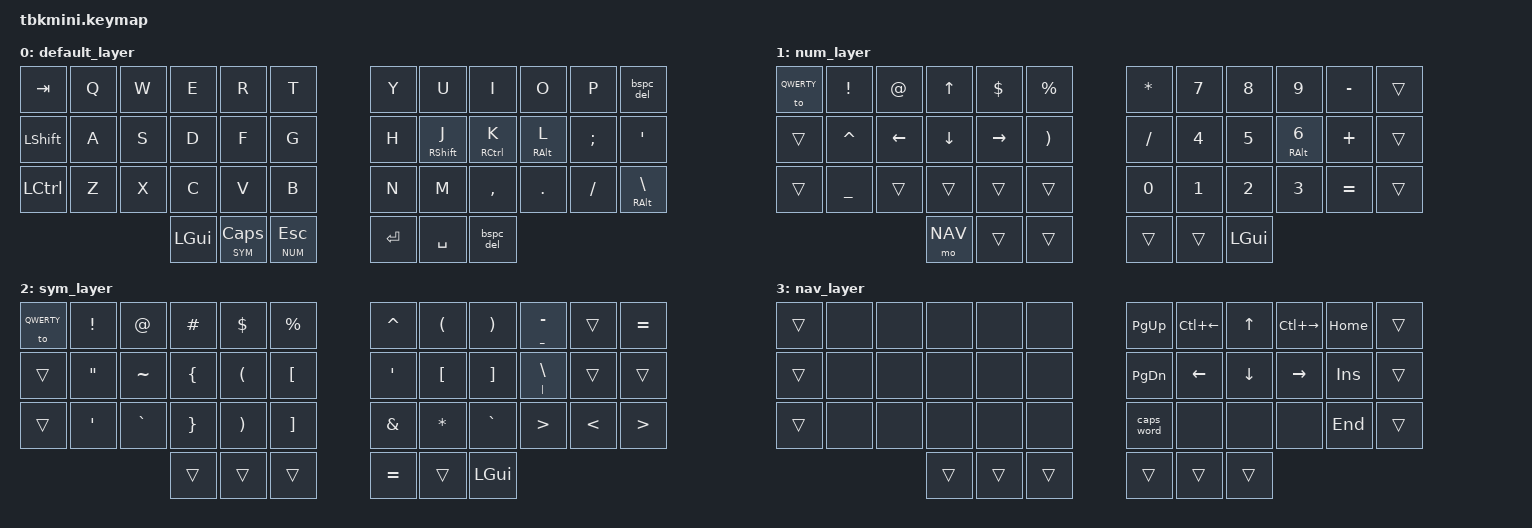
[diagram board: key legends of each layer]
#include <behaviors.dtsi>
#include <dt-bindings/zmk/keys.h>
#include <dt-bindings/zmk/outputs.h>
#include <dt-bindings/zmk/bt.h>
#include "keymap_colemak.h"

#define QWERTY 0
#define NUM 1
#define SYM 2
#define NAV 3
#define ADJUST 4

&lt {
  tapping-term-ms = <200>;
  quick_tap_ms = <150>;
  flavor = "hold-preferred";
};

&mt {
  tapping-term-ms = <150>;
  compatible = "zmk,behavior-hold-tap";
  #binding-cells = <2>;
  quick-tap-ms = <150>;
  flavor = "balanced";
};

/ {
    behaviors {
        bspc_del: backspace_delete {
            compatible = "zmk,behavior-mod-morph";
            label = "BACKSPACE_DELETE";
            #binding-cells = <0>;
            bindings = <&kp BACKSPACE>, <&kp DELETE>;
            mods = <(MOD_LSFT|MOD_RSFT)>;
            keep-mods = <(MOD_RSFT)>;
        };
    };
};

/ {
  chosen {
    zmk,matrix_transform = &default_transform;
  };

  keymap {
        compatible = "zmk,keymap";

                default_layer {
// /--------------------------------------------------------------\       /-----------------------------------------------------------\
// |   ESC        |    Q    |    W   |   E    |    R    |    T    |       |   Y   |    U    |    I    |    O    |     P    |    \     |
// |--------------+---------+--------+--------+---------+---------|       |-------+---------+---------+---------+----------+----------|
// |   CTRL/Tab   |    A    |    S   |   D    |    F    |    G    |       |   H   |    J    |    K    |    L    |     ;    |     '    |
// |--------------+---------+--------+--------+---------+---------|       |-------+---------+---------+---------+----------+----------|
// |   SHFT       |    Z    |    X   |   C    |    V    |    B    |       |   N   |    M    |    ,    |    .    |     /    | ` | ALT  |
// \---------------------------------+--------+---------+---------+       |-------+---------+---------+-------------------------------/
//                                   |  GUI   |   MO1   |   ENT   |       |  SPC  |   BKSP  |  CAPS   |
//                                   \--------+---------+---------/       \-------+---------+---------/

                        bindings = <
   &kp TAB          &kp Q   &kp W   &kp E     &kp R               &kp T             &kp Y         &kp U         &kp I         &kp O        &kp P      &bspc_del
   &kp LSHIFT       &kp A   &kp S   &kp D     &kp F               &kp G             &kp H         &mt RSHIFT J  &mt RCTRL K   &mt RALT L   &kp SEMI   &kp SQT
   &kp LCTRL        &kp Z   &kp X   &kp C     &kp V               &kp B             &kp N         &kp M         &kp COMMA     &kp DOT      &kp FSLH   &mt RALT BSLH
                                    &kp LGUI  &lt SYM CAPSLOCK    &lt NUM ESC       &kp RET       &kp SPACE     &bspc_del
                        >;
                };


                num_layer {
// /--------------------------------------------------------------\       /-----------------------------------------------------------\
// |   ESC        |    1    |    2   |   3    |    4    |    5    |       |   6   |    7    |    8    |    9    |     0    |    `     |
// |--------------+---------+--------+--------+---------+---------|       |-------+---------+---------+---------+----------+----------|
// |              |    !    |    @   |   #    |    $    |    %    |       |   ^   |    &    |    *    |    (    |     )    |     :    |
// |--------------+---------+--------+--------+---------+---------|       |-------+---------+---------+---------+----------+----------|
// |   SHFT       |         |    +   |   -    |    {    |    [    |       |   ]   |    }    |    =    |    _    |          |          |
// \---------------------------------+--------+---------+---------+       |-------+---------+---------+-------------------------------/
//                                   |  GUI   |         |   MO3   |       |   ,   |    .    |   ?     |
//                                   \--------+---------+---------/       \-------+---------+---------/
                        bindings = <
   &to QWERTY       &kp EXCL    &kp AT     &kp UP      &kp DOLLAR   &kp PERCENT       &kp ASTRK    &kp N7    &kp N8   &kp N9       &kp MINUS   &trans
   &trans           &kp CARET   &kp LEFT   &kp DOWN    &kp RIGHT    &kp RPAR          &kp SLASH    &kp N4    &kp N5   &mt RALT N6  &kp PLUS    &trans
   &trans           &kp UNDER   &trans     &trans      &trans       &trans            &kp N0       &kp N1    &kp N2   &kp N3       &kp EQUAL   &trans
                                           &mo NAV     &trans       &trans            &trans       &trans    &kp LGUI
                        >;
                };

                sym_layer {
// /----------------------------------------------------------------\       /-----------------------------------------------------------------\
// |   CMD+SHIFT+4  |       |   PU   |   UP   |    PD    |   HOME   |       |  HOME   |    PU    |    UP   |   PD    |          | CMD+SHIFT+4 |
// |----------------+-------+--------+--------+----------+----------|       |---------+----------+---------+---------+----------+-------------|
// |                |       |  LEFT  |  DOWN  |   RIGHT  |   END    |       |  END    |   LEFT   |   DOWN  |  RIGHT  |          |             |
// |----------------+-------+--------+--------+----------+----------|       |---------+----------+---------+---------+----------+-------------|
// |     OUT_TOG    |       |        |        |CTRL+LEFT |CTRL+RIGHT|       |CTRL+LEFT|CTRL+RIGHT|         |         |          |   OUT_TOG   |
// \---------------------------------+--------+----------+----------+       |---------+----------+---------+----------------------------------/
//                                   |  GUI   |   MO3    |          |       |         |          |         |
//                                   \--------+----------+----------/       \---------+----------+---------/

                        bindings = <
   &to QWERTY       &kp EXCL   &kp AT      &kp HASH   &kp DLLR   &kp PRCNT    &kp CARET   &kp LPAR    &kp RPAR    &mt UNDER MINUS      &trans    &kp EQUAL
   &trans           &kp DQT    &kp TILDE   &kp LBRC   &kp LPAR   &kp LBKT     &kp SQT     &kp LBKT    &kp RBKT    &mt PIPE BACKSLASH   &trans    &trans
   &trans           &kp APOS   &kp GRAVE   &kp RBRC   &kp RPAR   &kp RBKT     &kp AMPS    &kp ASTRK   &kp GRAVE   &kp GT               &kp LT      &kp GT
                                           &trans     &trans     &trans       &kp EQUAL   &trans      &kp LGUI
                        >;
                };


                nav_layer {
// /--------------------------------------------------------\       /--------------------------------------------------------------\
// |         |        |        |        |         |         |       |  VOL+  |        |         |         |          |             |
// |---------+--------+--------+--------+---------+---------|       |--------+--------+---------+---------+----------+-------------|
// |  BTCLR  |  BT1   |  BT2   |  BT3   |  BT4    |  BT5    |       |  VOL-  |        |         |         |          |             |
// |---------+--------+--------+--------+---------+---------|       |--------+--------+---------+---------+----------+-------------|
// |         |        |        |        |         |         |       |        |        |         |         |          |             |
// \---------------------------+--------+---------+---------+       |--------+--------+---------+----------------------------------/
//                             |        |         |         |       |        |        |         |
//                             \--------+---------+---------/       \--------+--------+---------/

//                        bindings = <
//   &trans &reset      &trans          &trans         &trans          &trans          &trans            &kp C_VOLUME_UP    &trans &trans &trans &trans &reset &trans
//   &bt BT_CLR  &bt BT_SEL 0    &bt BT_SEL 1   &bt BT_SEL 2    &bt BT_SEL 3    &bt BT_SEL 4      &kp C_VOLUME_DOWN  &trans &trans &trans &trans &trans
//   &trans      &trans          &trans         &trans          &trans          &trans            &trans             &trans &trans &trans &trans &trans
//                                   &trans &trans &trans   &trans &trans &trans
//                        >;
//                };

                        bindings = <
   &trans   &none   &none   &none   &none   &none         &kp PG_UP     &kp LC(LEFT) &kp UP     &kp LC(RIGHT) &kp HOME   &trans
   &trans   &none   &none   &none   &none   &none         &kp PG_DN     &kp LEFT     &kp DOWN   &kp RIGHT     &kp INS    &trans
   &trans   &none   &none   &none   &none   &none         &caps_word    &none     &none      &none         &kp END    &trans
                      &trans     &trans     &trans        &trans      &trans     &trans
                        >;
                };
    };
};
